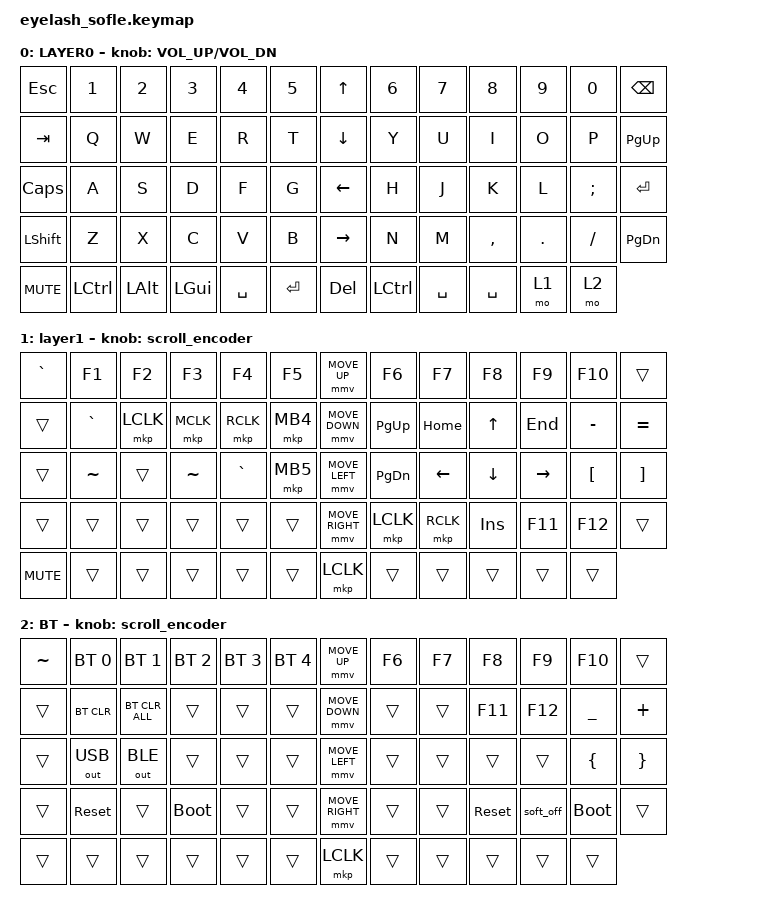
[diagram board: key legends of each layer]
#define ZMK_POINTING_DEFAULT_MOVE_VAL 1200  // 600
#define ZMK_POINTING_DEFAULT_SCRL_VAL 25   // 10

#include <input/processors.dtsi>
#include <zephyr/dt-bindings/input/input-event-codes.h>
#include <behaviors.dtsi>
#include <dt-bindings/zmk/bt.h>
#include <dt-bindings/zmk/keys.h>
#include <dt-bindings/zmk/outputs.h>
#include <dt-bindings/zmk/pointing.h>

&mmv_input_listener { input-processors = <&zip_xy_scaler 2 1>; };

&msc_input_listener { input-processors = <&zip_scroll_scaler 2 1>; };

&msc {
    acceleration-exponent = <1>;      // 0
    time-to-max-speed-ms = <100>;       // 300
    delay-ms = <0>;                   // 0
};

&mmv {
    time-to-max-speed-ms = <500>;
    acceleration-exponent = <1>;
    trigger-period-ms = <16>;
};

/ {
    scroll_encoder: scroll_encoder {
        compatible = "zmk,behavior-sensor-rotate";
        #sensor-binding-cells = <0>;
        bindings = <&msc SCRL_DOWN>, <&msc SCRL_UP>;

        tap-ms = <100>;
    };

    behaviors {
    };

    keymap {
        compatible = "zmk,keymap";

        layer0 {
            bindings = <
&kp ESC     &kp N1     &kp N2        &kp N3        &kp N4     &kp N5       &kp UP_ARROW  &kp N6     &kp N7     &kp N8     &kp N9   &kp N0    &kp BACKSPACE
&kp TAB     &kp Q      &kp W         &kp E         &kp R      &kp T        &kp DOWN      &kp Y      &kp U      &kp I      &kp O    &kp P     &kp PAGE_UP
&kp CAPS    &kp A      &kp S         &kp D         &kp F      &kp G        &kp LEFT      &kp H      &kp J      &kp K      &kp L    &kp SEMI  &kp ENTER
&kp LSHFT   &kp Z      &kp X         &kp C         &kp V      &kp B        &kp RIGHT     &kp N      &kp M      &kp COMMA  &kp DOT  &kp FSLH  &kp PAGE_DOWN
&kp C_MUTE  &kp LCTRL  &kp LEFT_ALT  &kp LEFT_GUI  &kp SPACE  &kp ENTER    &kp DELETE    &kp LCTRL  &kp SPACE  &kp SPACE  &mo 1    &mo 2
            >;

            sensor-bindings = <&inc_dec_kp C_VOLUME_UP C_VOL_DN>;
            display-name = "LAYER0";
        };

        DIS {
            bindings = <
&kp GRAVE   &kp F1     &kp F2     &kp F3     &kp F4     &kp F5      &mmv MOVE_UP     &kp F6     &kp F7     &kp F8      &kp F9     &kp F10           &trans
&trans      &kp GRAVE  &mkp LCLK  &mkp MCLK  &mkp RCLK  &mkp MB4    &mmv MOVE_DOWN   &kp PG_UP  &kp HOME   &kp UP      &kp END    &kp MINUS         &kp EQUAL
&trans      &kp TILDE  &trans     &kp TILDE  &kp GRAVE  &mkp MB5    &mmv MOVE_LEFT   &kp PG_DN  &kp LEFT   &kp DOWN    &kp RIGHT  &kp LEFT_BRACKET  &kp RIGHT_BRACKET
&trans      &trans     &trans     &trans     &trans     &trans      &mmv MOVE_RIGHT  &mkp LCLK  &mkp RCLK  &kp INSERT  &kp F11    &kp F12           &trans
&kp C_MUTE  &trans     &trans     &trans     &trans     &trans      &mkp LCLK        &trans     &trans     &trans      &trans     &trans
            >;

            display-name = "layer1";
            sensor-bindings = <&scroll_encoder>;
        };

        BT {
            bindings = <
&kp TILDE  &bt BT_SEL 0  &bt BT_SEL 1    &bt BT_SEL 2  &bt BT_SEL 3  &bt BT_SEL 4    &mmv MOVE_UP     &kp F6  &kp F7  &kp F8      &kp F9     &kp F10      &trans
&trans     &bt BT_CLR    &bt BT_CLR_ALL  &trans        &trans        &trans          &mmv MOVE_DOWN   &trans  &trans  &kp F11     &kp F12    &kp UNDER    &kp PLUS
&trans     &out OUT_USB  &out OUT_BLE    &trans        &trans        &trans          &mmv MOVE_LEFT   &trans  &trans  &trans      &trans     &kp LBRC     &kp RBRC
&trans     &sys_reset    &trans          &bootloader   &trans        &trans          &mmv MOVE_RIGHT  &trans  &trans  &sys_reset  &soft_off  &bootloader  &trans
&trans     &trans        &trans          &trans        &trans        &trans          &mkp LCLK        &trans  &trans  &trans      &trans     &trans
            >;

            sensor-bindings = <&scroll_encoder>;
        };
    };
};
